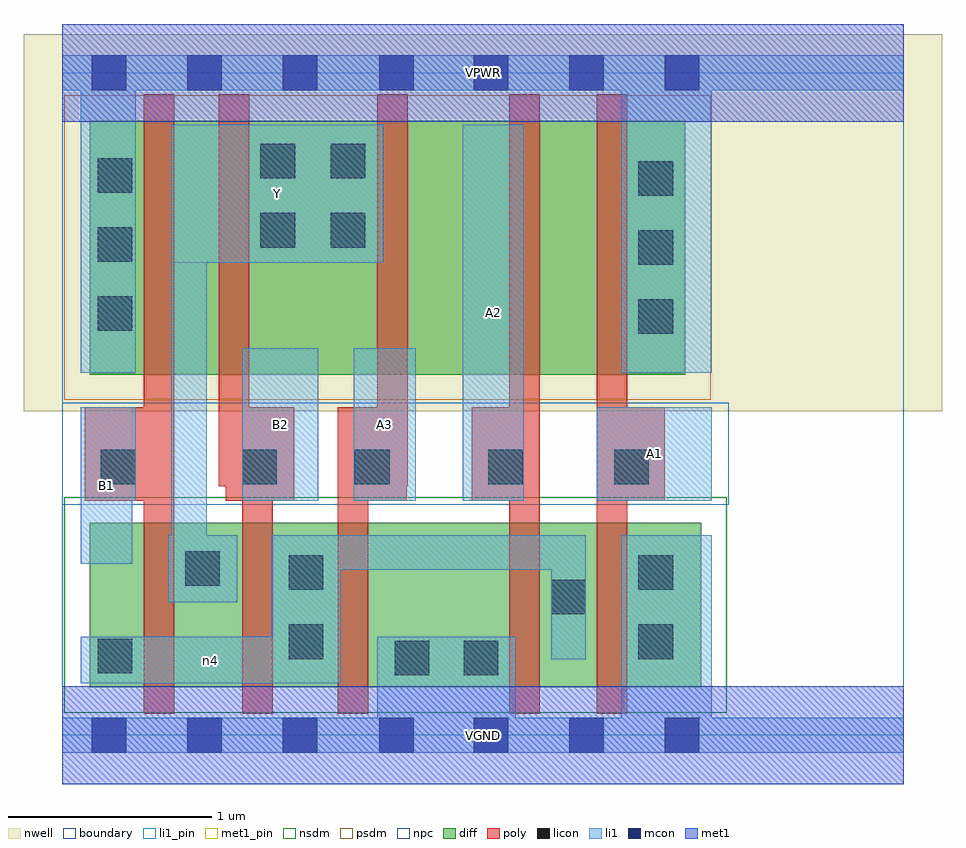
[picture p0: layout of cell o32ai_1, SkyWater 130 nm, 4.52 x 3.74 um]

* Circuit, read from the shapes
.subckt o32ai_1 A1 A2 A3 B1 B2 VGND VPWR Y n4
XM1 Y B1 n4 VSUBS sky130_fd_pr__nfet_01v8 w=0.81 l=0.15
XM2 n4 B2 Y VSUBS sky130_fd_pr__nfet_01v8 w=0.81 l=0.15
XM3 VGND A3 n4 VSUBS sky130_fd_pr__nfet_01v8 w=0.81 l=0.15
XM4 n4 A2 VGND VSUBS sky130_fd_pr__nfet_01v8 w=0.81 l=0.15
XM5 VGND A1 n4 VSUBS sky130_fd_pr__nfet_01v8 w=0.81 l=0.15
XM6 n1 B1 VPWR n2 sky130_fd_pr__pfet_01v8 w=1.25 l=0.15
XM7 Y B2 n1 n2 sky130_fd_pr__pfet_01v8 w=1.25 l=0.15
XM8 n3 A3 Y n2 sky130_fd_pr__pfet_01v8 w=1.25 l=0.15
XM9 n5 A2 n3 n2 sky130_fd_pr__pfet_01v8 w=1.25 l=0.15
XM10 VPWR A1 n5 n2 sky130_fd_pr__pfet_01v8 w=1.25 l=0.15
.ends

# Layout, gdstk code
import gdstk
lib = gdstk.Library(unit=1e-6, precision=1e-09)
def R(c, l, rs):  # rectangles x0, y0, x1, y1
    for r in rs: c.add(gdstk.rectangle(r[:2], r[2:], *l))
def A(c, l, x, y, w, h, nx, ny, dx, dy):  # array of equal rectangles
    R(c, l, [(x+i*dx, y+j*dy, x+i*dx+w, y+j*dy+h) for i in range(nx) for j in range(ny)])
nwell = (64, 20)
diff = (65, 20)
poly = (66, 20)
licon = (66, 44)
li1_pin = (67, 16)
li1 = (67, 20)
mcon = (67, 44)
met1_pin = (68, 16)
met1 = (68, 20)
nsdm = (93, 44)
psdm = (94, 20)
npc = (95, 20)
boundary = (235, 4)

o32ai_1 = lib.new_cell('o32ai_1')
R(o32ai_1, nwell, [(-0.19,1.595,4.33,3.45), (0,1.595,4.14,3.45)])
R(o32ai_1, diff, [(0.135,0.235,3.145,1.045), (0.135,1.775,3.065,3.025)])
R(o32ai_1, poly, [(0.4,0.105,0.55,3.155), (0.885,0.105,1.035,1.615), (1.355,0.105,1.505,1.615), (2.2,0.105,2.35,3.155), (2.63,0.105,2.78,3.155), (0.11,1.155,0.55,1.615), (0.805,1.155,1.14,1.615), (1.505,1.155,1.695,1.615), (2.015,1.155,2.35,1.615), (2.63,1.155,2.965,1.615), (0.77,1.225,0.92,3.155), (1.55,1.225,1.7,3.155)])
A(o32ai_1, licon, 2.835, 1.975, 0.17, 0.17, 1, 3, 0, 0.34)
A(o32ai_1, licon, 0.175, 1.99, 0.17, 0.17, 1, 3, 0, 0.34)
R(o32ai_1, licon, [(1.635,0.295,1.805,0.465), (1.975,0.295,2.145,0.465), (0.175,0.305,0.345,0.475), (1.115,0.375,1.285,0.545), (2.835,0.375,3.005,0.545), (2.405,0.595,2.575,0.765), (1.115,0.715,1.285,0.885), (2.835,0.715,3.005,0.885), (0.605,0.735,0.775,0.905), (0.19,1.235,0.36,1.405), (0.885,1.235,1.055,1.405), (1.44,1.235,1.61,1.405), (2.095,1.235,2.265,1.405), (2.715,1.235,2.885,1.405), (0.975,2.4,1.145,2.57), (1.32,2.4,1.49,2.57), (0.975,2.74,1.145,2.91), (1.32,2.74,1.49,2.91)])
R(o32ai_1, li1_pin, [(0.09,0.845,0.345,1.615), (0.885,1.155,1.26,1.905), (1.435,1.155,1.74,1.905), (1.97,1.155,2.27,3.005), (2.63,1.155,3.195,1.615), (0.535,2.325,1.58,3.005)])
R(o32ai_1, li1, [(0,-0.085,4.14,0.085), (1.55,-0.085,2.23,0.485), (2.75,-0.085,3.195,0.985), (0.09,0.255,1.37,0.485), (1.03,0.255,1.37,0.985), (2.405,0.375,2.575,0.985), (0.52,0.655,0.86,0.985), (0.535,0.655,0.71,3.005), (1.03,0.815,2.575,0.985), (0.09,0.845,0.345,1.615), (0.09,1.155,0.36,1.615), (0.885,1.155,1.26,1.905), (1.435,1.155,1.74,1.905), (1.97,1.155,2.27,3.005), (2.63,1.155,3.195,1.615), (0.09,1.785,0.36,3.345), (2.75,1.785,3.195,3.345), (0.535,2.325,1.58,3.005), (0,3.175,4.14,3.345)])
A(o32ai_1, mcon, 0.145, -0.085, 0.17, 0.17, 3, 2, 0.47, 3.26)
A(o32ai_1, mcon, 2.025, -0.085, 0.17, 0.17, 3, 2, 0.47, 3.26)
R(o32ai_1, mcon, [(1.56,-0.085,1.73,0.085), (1.56,3.175,1.73,3.345)])
R(o32ai_1, met1_pin, [(0,-0.24,4.14,0.24), (0,3.02,4.14,3.5)])
R(o32ai_1, met1, [(0,-0.24,4.14,0.24), (0,3.02,4.14,3.5)])
R(o32ai_1, nsdm, [(0.01,0.11,3.27,1.17)])
R(o32ai_1, psdm, [(0.01,1.65,3.19,3.15)])
R(o32ai_1, npc, [(0,1.135,3.28,1.635)])
R(o32ai_1, boundary, [(0,0,4.14,3.26)])
o32ai_1.add(gdstk.Label('A1', (2.912,1.385), layer=67, texttype=5))
o32ai_1.add(gdstk.Label('A2', (2.12,2.08), layer=67, texttype=5))
o32ai_1.add(gdstk.Label('A3', (1.587,1.53), layer=67, texttype=5))
o32ai_1.add(gdstk.Label('B1', (0.217,1.23), layer=67, texttype=5))
o32ai_1.add(gdstk.Label('B2', (1.072,1.53), layer=67, texttype=5))
o32ai_1.add(gdstk.Label('Y', (1.057,2.665), layer=67, texttype=5))
o32ai_1.add(gdstk.Label('n4', (0.73,0.37), layer=67, texttype=5))
o32ai_1.add(gdstk.Label('VPWR', (2.07,3.26), layer=68, texttype=5))
o32ai_1.add(gdstk.Label('VGND', (2.07,0), layer=68, texttype=5))
o32ai_1.add(gdstk.Label('A1', (2.912,1.385), layer=67, texttype=16))
o32ai_1.add(gdstk.Label('A2', (2.12,2.08), layer=67, texttype=16))
o32ai_1.add(gdstk.Label('A3', (1.587,1.53), layer=67, texttype=16))
o32ai_1.add(gdstk.Label('B1', (0.217,1.23), layer=67, texttype=16))
o32ai_1.add(gdstk.Label('B2', (1.072,1.53), layer=67, texttype=16))
o32ai_1.add(gdstk.Label('Y', (1.057,2.665), layer=67, texttype=16))
o32ai_1.add(gdstk.Label('VPWR', (2.07,3.26), layer=68, texttype=16))
o32ai_1.add(gdstk.Label('VGND', (2.07,0), layer=68, texttype=16))

lib.write_gds('o32ai_1.gds')
